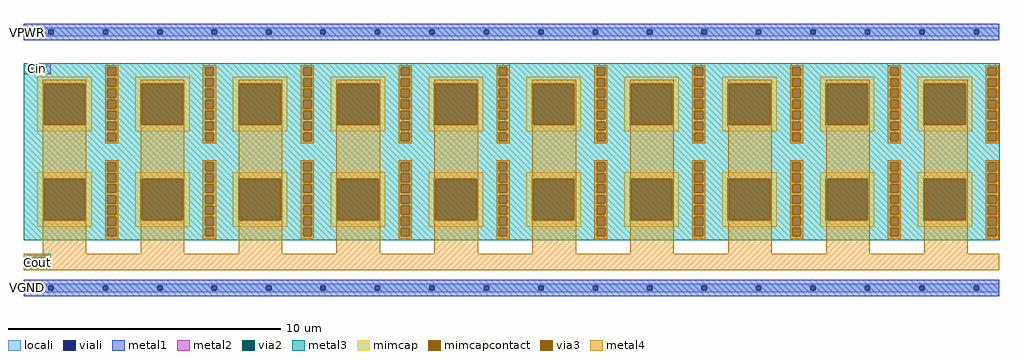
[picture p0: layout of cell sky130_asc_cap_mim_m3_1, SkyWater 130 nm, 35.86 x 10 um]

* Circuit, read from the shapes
.subckt sky130_asc_cap_mim_m3_1 Cin Cout VPWR VGND
XC1 Cout Cin sky130_fd_pr__cap_mim_m3_1 w=2 l=2 m=20
.ends

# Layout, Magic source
magic
tech sky130A
magscale 1 2
<< locali >>
rect 122 1897 7290 1910
rect 122 1863 305 1897
rect 339 1863 705 1897
rect 739 1863 1105 1897
rect 1139 1863 1505 1897
rect 1539 1863 1905 1897
rect 1939 1863 2305 1897
rect 2339 1863 2705 1897
rect 2739 1863 3105 1897
rect 3139 1863 3505 1897
rect 3539 1863 3905 1897
rect 3939 1863 4305 1897
rect 4339 1863 4705 1897
rect 4739 1863 5105 1897
rect 5139 1863 5505 1897
rect 5539 1863 5905 1897
rect 5939 1863 6305 1897
rect 6339 1863 6705 1897
rect 6739 1863 7105 1897
rect 7139 1863 7290 1897
rect 122 1850 7290 1863
rect 122 17 7290 30
rect 122 -17 305 17
rect 339 -17 705 17
rect 739 -17 1105 17
rect 1139 -17 1505 17
rect 1539 -17 1905 17
rect 1939 -17 2305 17
rect 2339 -17 2705 17
rect 2739 -17 3105 17
rect 3139 -17 3505 17
rect 3539 -17 3905 17
rect 3939 -17 4305 17
rect 4339 -17 4705 17
rect 4739 -17 5105 17
rect 5139 -17 5505 17
rect 5539 -17 5905 17
rect 5939 -17 6305 17
rect 6339 -17 6705 17
rect 6739 -17 7105 17
rect 7139 -17 7290 17
rect 122 -30 7290 -17
<< viali >>
rect 305 1863 339 1897
rect 705 1863 739 1897
rect 1105 1863 1139 1897
rect 1505 1863 1539 1897
rect 1905 1863 1939 1897
rect 2305 1863 2339 1897
rect 2705 1863 2739 1897
rect 3105 1863 3139 1897
rect 3505 1863 3539 1897
rect 3905 1863 3939 1897
rect 4305 1863 4339 1897
rect 4705 1863 4739 1897
rect 5105 1863 5139 1897
rect 5505 1863 5539 1897
rect 5905 1863 5939 1897
rect 6305 1863 6339 1897
rect 6705 1863 6739 1897
rect 7105 1863 7139 1897
rect 305 -17 339 17
rect 705 -17 739 17
rect 1105 -17 1139 17
rect 1505 -17 1539 17
rect 1905 -17 1939 17
rect 2305 -17 2339 17
rect 2705 -17 2739 17
rect 3105 -17 3139 17
rect 3505 -17 3539 17
rect 3905 -17 3939 17
rect 4305 -17 4339 17
rect 4705 -17 4739 17
rect 5105 -17 5139 17
rect 5505 -17 5539 17
rect 5905 -17 5939 17
rect 6305 -17 6339 17
rect 6705 -17 6739 17
rect 7105 -17 7139 17
<< metal1 >>
rect 122 1897 7290 1940
rect 122 1863 305 1897
rect 339 1863 705 1897
rect 739 1863 1105 1897
rect 1139 1863 1505 1897
rect 1539 1863 1905 1897
rect 1939 1863 2305 1897
rect 2339 1863 2705 1897
rect 2739 1863 3105 1897
rect 3139 1863 3505 1897
rect 3539 1863 3905 1897
rect 3939 1863 4305 1897
rect 4339 1863 4705 1897
rect 4739 1863 5105 1897
rect 5139 1863 5505 1897
rect 5539 1863 5905 1897
rect 5939 1863 6305 1897
rect 6339 1863 6705 1897
rect 6739 1863 7105 1897
rect 7139 1863 7290 1897
rect 122 1820 7290 1863
rect 122 17 7290 60
rect 122 -17 305 17
rect 339 -17 705 17
rect 739 -17 1105 17
rect 1139 -17 1505 17
rect 1539 -17 1905 17
rect 1939 -17 2305 17
rect 2339 -17 2705 17
rect 2739 -17 3105 17
rect 3139 -17 3505 17
rect 3539 -17 3905 17
rect 3939 -17 4305 17
rect 4339 -17 4705 17
rect 4739 -17 5105 17
rect 5139 -17 5505 17
rect 5539 -17 5905 17
rect 5939 -17 6305 17
rect 6339 -17 6705 17
rect 6739 -17 7105 17
rect 7139 -17 7290 17
rect 122 -60 7290 -17
<< metal2 >>
rect 120 1638 320 1650
rect 120 1582 152 1638
rect 208 1582 232 1638
rect 288 1582 320 1638
rect 120 1570 320 1582
rect 142 218 302 240
rect 142 162 194 218
rect 250 162 302 218
rect 142 140 302 162
<< via2 >>
rect 152 1582 208 1638
rect 232 1582 288 1638
rect 194 162 250 218
<< metal3 >>
rect 120 1638 7292 1650
rect 120 1582 152 1638
rect 208 1582 232 1638
rect 288 1622 7292 1638
rect 288 1582 736 1622
rect 120 1558 736 1582
rect 800 1558 1455 1622
rect 1519 1558 2174 1622
rect 2238 1558 2893 1622
rect 2957 1558 3612 1622
rect 3676 1558 4331 1622
rect 4395 1558 5050 1622
rect 5114 1558 5769 1622
rect 5833 1558 6488 1622
rect 6552 1558 7207 1622
rect 7271 1558 7292 1622
rect 120 1542 7292 1558
rect 120 1478 736 1542
rect 800 1478 1455 1542
rect 1519 1478 2174 1542
rect 2238 1478 2893 1542
rect 2957 1478 3612 1542
rect 3676 1478 4331 1542
rect 4395 1478 5050 1542
rect 5114 1478 5769 1542
rect 5833 1478 6488 1542
rect 6552 1478 7207 1542
rect 7271 1478 7292 1542
rect 120 1462 7292 1478
rect 120 1398 736 1462
rect 800 1398 1455 1462
rect 1519 1398 2174 1462
rect 2238 1398 2893 1462
rect 2957 1398 3612 1462
rect 3676 1398 4331 1462
rect 4395 1398 5050 1462
rect 5114 1398 5769 1462
rect 5833 1398 6488 1462
rect 6552 1398 7207 1462
rect 7271 1398 7292 1462
rect 120 1382 7292 1398
rect 120 1318 736 1382
rect 800 1318 1455 1382
rect 1519 1318 2174 1382
rect 2238 1318 2893 1382
rect 2957 1318 3612 1382
rect 3676 1318 4331 1382
rect 4395 1318 5050 1382
rect 5114 1318 5769 1382
rect 5833 1318 6488 1382
rect 6552 1318 7207 1382
rect 7271 1318 7292 1382
rect 120 1302 7292 1318
rect 120 1238 736 1302
rect 800 1238 1455 1302
rect 1519 1238 2174 1302
rect 2238 1238 2893 1302
rect 2957 1238 3612 1302
rect 3676 1238 4331 1302
rect 4395 1238 5050 1302
rect 5114 1238 5769 1302
rect 5833 1238 6488 1302
rect 6552 1238 7207 1302
rect 7271 1238 7292 1302
rect 120 1222 7292 1238
rect 120 1158 736 1222
rect 800 1158 1455 1222
rect 1519 1158 2174 1222
rect 2238 1158 2893 1222
rect 2957 1158 3612 1222
rect 3676 1158 4331 1222
rect 4395 1158 5050 1222
rect 5114 1158 5769 1222
rect 5833 1158 6488 1222
rect 6552 1158 7207 1222
rect 7271 1158 7292 1222
rect 120 1142 7292 1158
rect 120 1078 736 1142
rect 800 1078 1455 1142
rect 1519 1078 2174 1142
rect 2238 1078 2893 1142
rect 2957 1078 3612 1142
rect 3676 1078 4331 1142
rect 4395 1078 5050 1142
rect 5114 1078 5769 1142
rect 5833 1078 6488 1142
rect 6552 1078 7207 1142
rect 7271 1078 7292 1142
rect 120 922 7292 1078
rect 120 858 736 922
rect 800 858 1455 922
rect 1519 858 2174 922
rect 2238 858 2893 922
rect 2957 858 3612 922
rect 3676 858 4331 922
rect 4395 858 5050 922
rect 5114 858 5769 922
rect 5833 858 6488 922
rect 6552 858 7207 922
rect 7271 858 7292 922
rect 120 842 7292 858
rect 120 778 736 842
rect 800 778 1455 842
rect 1519 778 2174 842
rect 2238 778 2893 842
rect 2957 778 3612 842
rect 3676 778 4331 842
rect 4395 778 5050 842
rect 5114 778 5769 842
rect 5833 778 6488 842
rect 6552 778 7207 842
rect 7271 778 7292 842
rect 120 762 7292 778
rect 120 698 736 762
rect 800 698 1455 762
rect 1519 698 2174 762
rect 2238 698 2893 762
rect 2957 698 3612 762
rect 3676 698 4331 762
rect 4395 698 5050 762
rect 5114 698 5769 762
rect 5833 698 6488 762
rect 6552 698 7207 762
rect 7271 698 7292 762
rect 120 682 7292 698
rect 120 618 736 682
rect 800 618 1455 682
rect 1519 618 2174 682
rect 2238 618 2893 682
rect 2957 618 3612 682
rect 3676 618 4331 682
rect 4395 618 5050 682
rect 5114 618 5769 682
rect 5833 618 6488 682
rect 6552 618 7207 682
rect 7271 618 7292 682
rect 120 602 7292 618
rect 120 538 736 602
rect 800 538 1455 602
rect 1519 538 2174 602
rect 2238 538 2893 602
rect 2957 538 3612 602
rect 3676 538 4331 602
rect 4395 538 5050 602
rect 5114 538 5769 602
rect 5833 538 6488 602
rect 6552 538 7207 602
rect 7271 538 7292 602
rect 120 522 7292 538
rect 120 458 736 522
rect 800 458 1455 522
rect 1519 458 2174 522
rect 2238 458 2893 522
rect 2957 458 3612 522
rect 3676 458 4331 522
rect 4395 458 5050 522
rect 5114 458 5769 522
rect 5833 458 6488 522
rect 6552 458 7207 522
rect 7271 458 7292 522
rect 120 442 7292 458
rect 120 378 736 442
rect 800 378 1455 442
rect 1519 378 2174 442
rect 2238 378 2893 442
rect 2957 378 3612 442
rect 3676 378 4331 442
rect 4395 378 5050 442
rect 5114 378 5769 442
rect 5833 378 6488 442
rect 6552 378 7207 442
rect 7271 378 7292 442
rect 120 350 7292 378
rect 122 222 322 250
rect 122 158 150 222
rect 214 218 230 222
rect 214 158 230 162
rect 294 158 322 222
rect 122 130 322 158
<< via3 >>
rect 736 1558 800 1622
rect 1455 1558 1519 1622
rect 2174 1558 2238 1622
rect 2893 1558 2957 1622
rect 3612 1558 3676 1622
rect 4331 1558 4395 1622
rect 5050 1558 5114 1622
rect 5769 1558 5833 1622
rect 6488 1558 6552 1622
rect 7207 1558 7271 1622
rect 736 1478 800 1542
rect 1455 1478 1519 1542
rect 2174 1478 2238 1542
rect 2893 1478 2957 1542
rect 3612 1478 3676 1542
rect 4331 1478 4395 1542
rect 5050 1478 5114 1542
rect 5769 1478 5833 1542
rect 6488 1478 6552 1542
rect 7207 1478 7271 1542
rect 736 1398 800 1462
rect 1455 1398 1519 1462
rect 2174 1398 2238 1462
rect 2893 1398 2957 1462
rect 3612 1398 3676 1462
rect 4331 1398 4395 1462
rect 5050 1398 5114 1462
rect 5769 1398 5833 1462
rect 6488 1398 6552 1462
rect 7207 1398 7271 1462
rect 736 1318 800 1382
rect 1455 1318 1519 1382
rect 2174 1318 2238 1382
rect 2893 1318 2957 1382
rect 3612 1318 3676 1382
rect 4331 1318 4395 1382
rect 5050 1318 5114 1382
rect 5769 1318 5833 1382
rect 6488 1318 6552 1382
rect 7207 1318 7271 1382
rect 736 1238 800 1302
rect 1455 1238 1519 1302
rect 2174 1238 2238 1302
rect 2893 1238 2957 1302
rect 3612 1238 3676 1302
rect 4331 1238 4395 1302
rect 5050 1238 5114 1302
rect 5769 1238 5833 1302
rect 6488 1238 6552 1302
rect 7207 1238 7271 1302
rect 736 1158 800 1222
rect 1455 1158 1519 1222
rect 2174 1158 2238 1222
rect 2893 1158 2957 1222
rect 3612 1158 3676 1222
rect 4331 1158 4395 1222
rect 5050 1158 5114 1222
rect 5769 1158 5833 1222
rect 6488 1158 6552 1222
rect 7207 1158 7271 1222
rect 736 1078 800 1142
rect 1455 1078 1519 1142
rect 2174 1078 2238 1142
rect 2893 1078 2957 1142
rect 3612 1078 3676 1142
rect 4331 1078 4395 1142
rect 5050 1078 5114 1142
rect 5769 1078 5833 1142
rect 6488 1078 6552 1142
rect 7207 1078 7271 1142
rect 736 858 800 922
rect 1455 858 1519 922
rect 2174 858 2238 922
rect 2893 858 2957 922
rect 3612 858 3676 922
rect 4331 858 4395 922
rect 5050 858 5114 922
rect 5769 858 5833 922
rect 6488 858 6552 922
rect 7207 858 7271 922
rect 736 778 800 842
rect 1455 778 1519 842
rect 2174 778 2238 842
rect 2893 778 2957 842
rect 3612 778 3676 842
rect 4331 778 4395 842
rect 5050 778 5114 842
rect 5769 778 5833 842
rect 6488 778 6552 842
rect 7207 778 7271 842
rect 736 698 800 762
rect 1455 698 1519 762
rect 2174 698 2238 762
rect 2893 698 2957 762
rect 3612 698 3676 762
rect 4331 698 4395 762
rect 5050 698 5114 762
rect 5769 698 5833 762
rect 6488 698 6552 762
rect 7207 698 7271 762
rect 736 618 800 682
rect 1455 618 1519 682
rect 2174 618 2238 682
rect 2893 618 2957 682
rect 3612 618 3676 682
rect 4331 618 4395 682
rect 5050 618 5114 682
rect 5769 618 5833 682
rect 6488 618 6552 682
rect 7207 618 7271 682
rect 736 538 800 602
rect 1455 538 1519 602
rect 2174 538 2238 602
rect 2893 538 2957 602
rect 3612 538 3676 602
rect 4331 538 4395 602
rect 5050 538 5114 602
rect 5769 538 5833 602
rect 6488 538 6552 602
rect 7207 538 7271 602
rect 736 458 800 522
rect 1455 458 1519 522
rect 2174 458 2238 522
rect 2893 458 2957 522
rect 3612 458 3676 522
rect 4331 458 4395 522
rect 5050 458 5114 522
rect 5769 458 5833 522
rect 6488 458 6552 522
rect 7207 458 7271 522
rect 736 378 800 442
rect 1455 378 1519 442
rect 2174 378 2238 442
rect 2893 378 2957 442
rect 3612 378 3676 442
rect 4331 378 4395 442
rect 5050 378 5114 442
rect 5769 378 5833 442
rect 6488 378 6552 442
rect 7207 378 7271 442
rect 150 218 214 222
rect 230 218 294 222
rect 150 162 194 218
rect 194 162 214 218
rect 230 162 250 218
rect 250 162 294 218
rect 150 158 214 162
rect 230 158 294 162
<< mimcap >>
rect 221 1502 621 1550
rect 221 1198 269 1502
rect 573 1198 621 1502
rect 221 1150 621 1198
rect 940 1502 1340 1550
rect 940 1198 988 1502
rect 1292 1198 1340 1502
rect 940 1150 1340 1198
rect 1659 1502 2059 1550
rect 1659 1198 1707 1502
rect 2011 1198 2059 1502
rect 1659 1150 2059 1198
rect 2378 1502 2778 1550
rect 2378 1198 2426 1502
rect 2730 1198 2778 1502
rect 2378 1150 2778 1198
rect 3097 1502 3497 1550
rect 3097 1198 3145 1502
rect 3449 1198 3497 1502
rect 3097 1150 3497 1198
rect 3816 1502 4216 1550
rect 3816 1198 3864 1502
rect 4168 1198 4216 1502
rect 3816 1150 4216 1198
rect 4535 1502 4935 1550
rect 4535 1198 4583 1502
rect 4887 1198 4935 1502
rect 4535 1150 4935 1198
rect 5254 1502 5654 1550
rect 5254 1198 5302 1502
rect 5606 1198 5654 1502
rect 5254 1150 5654 1198
rect 5973 1502 6373 1550
rect 5973 1198 6021 1502
rect 6325 1198 6373 1502
rect 5973 1150 6373 1198
rect 6692 1502 7092 1550
rect 6692 1198 6740 1502
rect 7044 1198 7092 1502
rect 6692 1150 7092 1198
rect 221 802 621 850
rect 221 498 269 802
rect 573 498 621 802
rect 221 450 621 498
rect 940 802 1340 850
rect 940 498 988 802
rect 1292 498 1340 802
rect 940 450 1340 498
rect 1659 802 2059 850
rect 1659 498 1707 802
rect 2011 498 2059 802
rect 1659 450 2059 498
rect 2378 802 2778 850
rect 2378 498 2426 802
rect 2730 498 2778 802
rect 2378 450 2778 498
rect 3097 802 3497 850
rect 3097 498 3145 802
rect 3449 498 3497 802
rect 3097 450 3497 498
rect 3816 802 4216 850
rect 3816 498 3864 802
rect 4168 498 4216 802
rect 3816 450 4216 498
rect 4535 802 4935 850
rect 4535 498 4583 802
rect 4887 498 4935 802
rect 4535 450 4935 498
rect 5254 802 5654 850
rect 5254 498 5302 802
rect 5606 498 5654 802
rect 5254 450 5654 498
rect 5973 802 6373 850
rect 5973 498 6021 802
rect 6325 498 6373 802
rect 5973 450 6373 498
rect 6692 802 7092 850
rect 6692 498 6740 802
rect 7044 498 7092 802
rect 6692 450 7092 498
<< mimcapcontact >>
rect 269 1198 573 1502
rect 988 1198 1292 1502
rect 1707 1198 2011 1502
rect 2426 1198 2730 1502
rect 3145 1198 3449 1502
rect 3864 1198 4168 1502
rect 4583 1198 4887 1502
rect 5302 1198 5606 1502
rect 6021 1198 6325 1502
rect 6740 1198 7044 1502
rect 269 498 573 802
rect 988 498 1292 802
rect 1707 498 2011 802
rect 2426 498 2730 802
rect 3145 498 3449 802
rect 3864 498 4168 802
rect 4583 498 4887 802
rect 5302 498 5606 802
rect 6021 498 6325 802
rect 6740 498 7044 802
<< metal4 >>
rect 720 1622 816 1638
rect 720 1558 736 1622
rect 800 1558 816 1622
rect 720 1542 816 1558
rect 260 1511 580 1530
rect 260 1502 582 1511
rect 260 1198 269 1502
rect 573 1198 582 1502
rect 260 1189 582 1198
rect 720 1478 736 1542
rect 800 1478 816 1542
rect 1439 1622 1535 1638
rect 1439 1558 1455 1622
rect 1519 1558 1535 1622
rect 1439 1542 1535 1558
rect 980 1511 1300 1530
rect 720 1462 816 1478
rect 720 1398 736 1462
rect 800 1398 816 1462
rect 720 1382 816 1398
rect 720 1318 736 1382
rect 800 1318 816 1382
rect 720 1302 816 1318
rect 720 1238 736 1302
rect 800 1238 816 1302
rect 720 1222 816 1238
rect 260 811 580 1189
rect 720 1158 736 1222
rect 800 1158 816 1222
rect 979 1502 1301 1511
rect 979 1198 988 1502
rect 1292 1198 1301 1502
rect 979 1189 1301 1198
rect 1439 1478 1455 1542
rect 1519 1478 1535 1542
rect 2158 1622 2254 1638
rect 2158 1558 2174 1622
rect 2238 1558 2254 1622
rect 2158 1542 2254 1558
rect 1700 1511 2020 1530
rect 1439 1462 1535 1478
rect 1439 1398 1455 1462
rect 1519 1398 1535 1462
rect 1439 1382 1535 1398
rect 1439 1318 1455 1382
rect 1519 1318 1535 1382
rect 1439 1302 1535 1318
rect 1439 1238 1455 1302
rect 1519 1238 1535 1302
rect 1439 1222 1535 1238
rect 720 1142 816 1158
rect 720 1078 736 1142
rect 800 1078 816 1142
rect 720 1062 816 1078
rect 720 922 816 938
rect 720 858 736 922
rect 800 858 816 922
rect 720 842 816 858
rect 260 802 582 811
rect 260 498 269 802
rect 573 498 582 802
rect 260 489 582 498
rect 720 778 736 842
rect 800 778 816 842
rect 980 811 1300 1189
rect 1439 1158 1455 1222
rect 1519 1158 1535 1222
rect 1698 1502 2020 1511
rect 1698 1198 1707 1502
rect 2011 1198 2020 1502
rect 1698 1189 2020 1198
rect 1439 1142 1535 1158
rect 1439 1078 1455 1142
rect 1519 1078 1535 1142
rect 1439 1062 1535 1078
rect 1439 922 1535 938
rect 1439 858 1455 922
rect 1519 858 1535 922
rect 1439 842 1535 858
rect 720 762 816 778
rect 720 698 736 762
rect 800 698 816 762
rect 720 682 816 698
rect 720 618 736 682
rect 800 618 816 682
rect 720 602 816 618
rect 720 538 736 602
rect 800 538 816 602
rect 720 522 816 538
rect 260 250 580 489
rect 720 458 736 522
rect 800 458 816 522
rect 979 802 1301 811
rect 979 498 988 802
rect 1292 498 1301 802
rect 979 489 1301 498
rect 1439 778 1455 842
rect 1519 778 1535 842
rect 1700 811 2020 1189
rect 2158 1478 2174 1542
rect 2238 1478 2254 1542
rect 2877 1622 2973 1638
rect 2877 1558 2893 1622
rect 2957 1558 2973 1622
rect 2877 1542 2973 1558
rect 2420 1511 2740 1530
rect 2158 1462 2254 1478
rect 2158 1398 2174 1462
rect 2238 1398 2254 1462
rect 2158 1382 2254 1398
rect 2158 1318 2174 1382
rect 2238 1318 2254 1382
rect 2158 1302 2254 1318
rect 2158 1238 2174 1302
rect 2238 1238 2254 1302
rect 2158 1222 2254 1238
rect 2158 1158 2174 1222
rect 2238 1158 2254 1222
rect 2417 1502 2740 1511
rect 2417 1198 2426 1502
rect 2730 1198 2740 1502
rect 2417 1189 2740 1198
rect 2158 1142 2254 1158
rect 2158 1078 2174 1142
rect 2238 1078 2254 1142
rect 2158 1062 2254 1078
rect 1439 762 1535 778
rect 1439 698 1455 762
rect 1519 698 1535 762
rect 1439 682 1535 698
rect 1439 618 1455 682
rect 1519 618 1535 682
rect 1439 602 1535 618
rect 1439 538 1455 602
rect 1519 538 1535 602
rect 1439 522 1535 538
rect 720 442 816 458
rect 720 378 736 442
rect 800 378 816 442
rect 720 362 816 378
rect 980 250 1300 489
rect 1439 458 1455 522
rect 1519 458 1535 522
rect 1698 802 2020 811
rect 1698 498 1707 802
rect 2011 498 2020 802
rect 1698 489 2020 498
rect 1439 442 1535 458
rect 1439 378 1455 442
rect 1519 378 1535 442
rect 1439 362 1535 378
rect 1700 250 2020 489
rect 2158 922 2254 938
rect 2158 858 2174 922
rect 2238 858 2254 922
rect 2158 842 2254 858
rect 2158 778 2174 842
rect 2238 778 2254 842
rect 2420 811 2740 1189
rect 2877 1478 2893 1542
rect 2957 1478 2973 1542
rect 3596 1622 3692 1638
rect 3596 1558 3612 1622
rect 3676 1558 3692 1622
rect 3596 1542 3692 1558
rect 3140 1511 3460 1530
rect 2877 1462 2973 1478
rect 2877 1398 2893 1462
rect 2957 1398 2973 1462
rect 2877 1382 2973 1398
rect 2877 1318 2893 1382
rect 2957 1318 2973 1382
rect 2877 1302 2973 1318
rect 2877 1238 2893 1302
rect 2957 1238 2973 1302
rect 2877 1222 2973 1238
rect 2877 1158 2893 1222
rect 2957 1158 2973 1222
rect 3136 1502 3460 1511
rect 3136 1198 3145 1502
rect 3449 1198 3460 1502
rect 3136 1189 3460 1198
rect 2877 1142 2973 1158
rect 2877 1078 2893 1142
rect 2957 1078 2973 1142
rect 2877 1062 2973 1078
rect 2158 762 2254 778
rect 2158 698 2174 762
rect 2238 698 2254 762
rect 2158 682 2254 698
rect 2158 618 2174 682
rect 2238 618 2254 682
rect 2158 602 2254 618
rect 2158 538 2174 602
rect 2238 538 2254 602
rect 2158 522 2254 538
rect 2158 458 2174 522
rect 2238 458 2254 522
rect 2417 802 2740 811
rect 2417 498 2426 802
rect 2730 498 2740 802
rect 2417 489 2740 498
rect 2158 442 2254 458
rect 2158 378 2174 442
rect 2238 378 2254 442
rect 2158 362 2254 378
rect 2420 250 2740 489
rect 2877 922 2973 938
rect 2877 858 2893 922
rect 2957 858 2973 922
rect 2877 842 2973 858
rect 2877 778 2893 842
rect 2957 778 2973 842
rect 3140 811 3460 1189
rect 3596 1478 3612 1542
rect 3676 1478 3692 1542
rect 4315 1622 4411 1638
rect 4315 1558 4331 1622
rect 4395 1558 4411 1622
rect 4315 1542 4411 1558
rect 3860 1511 4180 1530
rect 3596 1462 3692 1478
rect 3596 1398 3612 1462
rect 3676 1398 3692 1462
rect 3596 1382 3692 1398
rect 3596 1318 3612 1382
rect 3676 1318 3692 1382
rect 3596 1302 3692 1318
rect 3596 1238 3612 1302
rect 3676 1238 3692 1302
rect 3596 1222 3692 1238
rect 3596 1158 3612 1222
rect 3676 1158 3692 1222
rect 3855 1502 4180 1511
rect 3855 1198 3864 1502
rect 4168 1198 4180 1502
rect 3855 1189 4180 1198
rect 3596 1142 3692 1158
rect 3596 1078 3612 1142
rect 3676 1078 3692 1142
rect 3596 1062 3692 1078
rect 2877 762 2973 778
rect 2877 698 2893 762
rect 2957 698 2973 762
rect 2877 682 2973 698
rect 2877 618 2893 682
rect 2957 618 2973 682
rect 2877 602 2973 618
rect 2877 538 2893 602
rect 2957 538 2973 602
rect 2877 522 2973 538
rect 2877 458 2893 522
rect 2957 458 2973 522
rect 3136 802 3460 811
rect 3136 498 3145 802
rect 3449 498 3460 802
rect 3136 489 3460 498
rect 2877 442 2973 458
rect 2877 378 2893 442
rect 2957 378 2973 442
rect 2877 362 2973 378
rect 3140 250 3460 489
rect 3596 922 3692 938
rect 3596 858 3612 922
rect 3676 858 3692 922
rect 3596 842 3692 858
rect 3596 778 3612 842
rect 3676 778 3692 842
rect 3860 811 4180 1189
rect 4315 1478 4331 1542
rect 4395 1478 4411 1542
rect 5034 1622 5130 1638
rect 5034 1558 5050 1622
rect 5114 1558 5130 1622
rect 5034 1542 5130 1558
rect 4580 1511 4900 1530
rect 4315 1462 4411 1478
rect 4315 1398 4331 1462
rect 4395 1398 4411 1462
rect 4315 1382 4411 1398
rect 4315 1318 4331 1382
rect 4395 1318 4411 1382
rect 4315 1302 4411 1318
rect 4315 1238 4331 1302
rect 4395 1238 4411 1302
rect 4315 1222 4411 1238
rect 4315 1158 4331 1222
rect 4395 1158 4411 1222
rect 4574 1502 4900 1511
rect 4574 1198 4583 1502
rect 4887 1198 4900 1502
rect 4574 1189 4900 1198
rect 4315 1142 4411 1158
rect 4315 1078 4331 1142
rect 4395 1078 4411 1142
rect 4315 1062 4411 1078
rect 3596 762 3692 778
rect 3596 698 3612 762
rect 3676 698 3692 762
rect 3596 682 3692 698
rect 3596 618 3612 682
rect 3676 618 3692 682
rect 3596 602 3692 618
rect 3596 538 3612 602
rect 3676 538 3692 602
rect 3596 522 3692 538
rect 3596 458 3612 522
rect 3676 458 3692 522
rect 3855 802 4180 811
rect 3855 498 3864 802
rect 4168 498 4180 802
rect 3855 489 4180 498
rect 3596 442 3692 458
rect 3596 378 3612 442
rect 3676 378 3692 442
rect 3596 362 3692 378
rect 3860 250 4180 489
rect 4315 922 4411 938
rect 4315 858 4331 922
rect 4395 858 4411 922
rect 4315 842 4411 858
rect 4315 778 4331 842
rect 4395 778 4411 842
rect 4580 811 4900 1189
rect 5034 1478 5050 1542
rect 5114 1478 5130 1542
rect 5753 1622 5849 1638
rect 5753 1558 5769 1622
rect 5833 1558 5849 1622
rect 5753 1542 5849 1558
rect 5300 1511 5620 1530
rect 5034 1462 5130 1478
rect 5034 1398 5050 1462
rect 5114 1398 5130 1462
rect 5034 1382 5130 1398
rect 5034 1318 5050 1382
rect 5114 1318 5130 1382
rect 5034 1302 5130 1318
rect 5034 1238 5050 1302
rect 5114 1238 5130 1302
rect 5034 1222 5130 1238
rect 5034 1158 5050 1222
rect 5114 1158 5130 1222
rect 5293 1502 5620 1511
rect 5293 1198 5302 1502
rect 5606 1198 5620 1502
rect 5293 1189 5620 1198
rect 5034 1142 5130 1158
rect 5034 1078 5050 1142
rect 5114 1078 5130 1142
rect 5034 1062 5130 1078
rect 4315 762 4411 778
rect 4315 698 4331 762
rect 4395 698 4411 762
rect 4315 682 4411 698
rect 4315 618 4331 682
rect 4395 618 4411 682
rect 4315 602 4411 618
rect 4315 538 4331 602
rect 4395 538 4411 602
rect 4315 522 4411 538
rect 4315 458 4331 522
rect 4395 458 4411 522
rect 4574 802 4900 811
rect 4574 498 4583 802
rect 4887 498 4900 802
rect 4574 489 4900 498
rect 4315 442 4411 458
rect 4315 378 4331 442
rect 4395 378 4411 442
rect 4315 362 4411 378
rect 4580 250 4900 489
rect 5034 922 5130 938
rect 5034 858 5050 922
rect 5114 858 5130 922
rect 5034 842 5130 858
rect 5034 778 5050 842
rect 5114 778 5130 842
rect 5300 811 5620 1189
rect 5753 1478 5769 1542
rect 5833 1478 5849 1542
rect 6472 1622 6568 1638
rect 6472 1558 6488 1622
rect 6552 1558 6568 1622
rect 6472 1542 6568 1558
rect 6020 1511 6340 1530
rect 5753 1462 5849 1478
rect 5753 1398 5769 1462
rect 5833 1398 5849 1462
rect 5753 1382 5849 1398
rect 5753 1318 5769 1382
rect 5833 1318 5849 1382
rect 5753 1302 5849 1318
rect 5753 1238 5769 1302
rect 5833 1238 5849 1302
rect 5753 1222 5849 1238
rect 5753 1158 5769 1222
rect 5833 1158 5849 1222
rect 6012 1502 6340 1511
rect 6012 1198 6021 1502
rect 6325 1198 6340 1502
rect 6012 1189 6340 1198
rect 5753 1142 5849 1158
rect 5753 1078 5769 1142
rect 5833 1078 5849 1142
rect 5753 1062 5849 1078
rect 5034 762 5130 778
rect 5034 698 5050 762
rect 5114 698 5130 762
rect 5034 682 5130 698
rect 5034 618 5050 682
rect 5114 618 5130 682
rect 5034 602 5130 618
rect 5034 538 5050 602
rect 5114 538 5130 602
rect 5034 522 5130 538
rect 5034 458 5050 522
rect 5114 458 5130 522
rect 5293 802 5620 811
rect 5293 498 5302 802
rect 5606 498 5620 802
rect 5293 489 5620 498
rect 5034 442 5130 458
rect 5034 378 5050 442
rect 5114 378 5130 442
rect 5034 362 5130 378
rect 5300 250 5620 489
rect 5753 922 5849 938
rect 5753 858 5769 922
rect 5833 858 5849 922
rect 5753 842 5849 858
rect 5753 778 5769 842
rect 5833 778 5849 842
rect 6020 811 6340 1189
rect 6472 1478 6488 1542
rect 6552 1478 6568 1542
rect 7191 1622 7287 1638
rect 7191 1558 7207 1622
rect 7271 1558 7287 1622
rect 7191 1542 7287 1558
rect 6740 1511 7060 1530
rect 6472 1462 6568 1478
rect 6472 1398 6488 1462
rect 6552 1398 6568 1462
rect 6472 1382 6568 1398
rect 6472 1318 6488 1382
rect 6552 1318 6568 1382
rect 6472 1302 6568 1318
rect 6472 1238 6488 1302
rect 6552 1238 6568 1302
rect 6472 1222 6568 1238
rect 6472 1158 6488 1222
rect 6552 1158 6568 1222
rect 6731 1502 7060 1511
rect 6731 1198 6740 1502
rect 7044 1198 7060 1502
rect 6731 1189 7060 1198
rect 6472 1142 6568 1158
rect 6472 1078 6488 1142
rect 6552 1078 6568 1142
rect 6472 1062 6568 1078
rect 5753 762 5849 778
rect 5753 698 5769 762
rect 5833 698 5849 762
rect 5753 682 5849 698
rect 5753 618 5769 682
rect 5833 618 5849 682
rect 5753 602 5849 618
rect 5753 538 5769 602
rect 5833 538 5849 602
rect 5753 522 5849 538
rect 5753 458 5769 522
rect 5833 458 5849 522
rect 6012 802 6340 811
rect 6012 498 6021 802
rect 6325 498 6340 802
rect 6012 489 6340 498
rect 5753 442 5849 458
rect 5753 378 5769 442
rect 5833 378 5849 442
rect 5753 362 5849 378
rect 6020 250 6340 489
rect 6472 922 6568 938
rect 6472 858 6488 922
rect 6552 858 6568 922
rect 6472 842 6568 858
rect 6472 778 6488 842
rect 6552 778 6568 842
rect 6740 811 7060 1189
rect 7191 1478 7207 1542
rect 7271 1478 7287 1542
rect 7191 1462 7287 1478
rect 7191 1398 7207 1462
rect 7271 1398 7287 1462
rect 7191 1382 7287 1398
rect 7191 1318 7207 1382
rect 7271 1318 7287 1382
rect 7191 1302 7287 1318
rect 7191 1238 7207 1302
rect 7271 1238 7287 1302
rect 7191 1222 7287 1238
rect 7191 1158 7207 1222
rect 7271 1158 7287 1222
rect 7191 1142 7287 1158
rect 7191 1078 7207 1142
rect 7271 1078 7287 1142
rect 7191 1062 7287 1078
rect 6472 762 6568 778
rect 6472 698 6488 762
rect 6552 698 6568 762
rect 6472 682 6568 698
rect 6472 618 6488 682
rect 6552 618 6568 682
rect 6472 602 6568 618
rect 6472 538 6488 602
rect 6552 538 6568 602
rect 6472 522 6568 538
rect 6472 458 6488 522
rect 6552 458 6568 522
rect 6731 802 7060 811
rect 6731 498 6740 802
rect 7044 498 7060 802
rect 6731 489 7060 498
rect 6472 442 6568 458
rect 6472 378 6488 442
rect 6552 378 6568 442
rect 6472 362 6568 378
rect 6740 250 7060 489
rect 7191 922 7287 938
rect 7191 858 7207 922
rect 7271 858 7287 922
rect 7191 842 7287 858
rect 7191 778 7207 842
rect 7271 778 7287 842
rect 7191 762 7287 778
rect 7191 698 7207 762
rect 7271 698 7287 762
rect 7191 682 7287 698
rect 7191 618 7207 682
rect 7271 618 7287 682
rect 7191 602 7287 618
rect 7191 538 7207 602
rect 7271 538 7287 602
rect 7191 522 7287 538
rect 7191 458 7207 522
rect 7271 458 7287 522
rect 7191 442 7287 458
rect 7191 378 7207 442
rect 7271 378 7287 442
rect 7191 362 7287 378
rect 122 222 7290 250
rect 122 158 150 222
rect 214 158 230 222
rect 294 158 7290 222
rect 122 130 7290 158
<< labels >>
flabel metal2 s 120 1570 320 1650 1 FreeSans 1250 0 0 0 Cin
port 1 nsew
flabel metal4 s 142 140 302 240 1 FreeSans 1250 0 0 0 Cout
port 2 nsew
flabel metal1 s 122 1850 182 1910 1 FreeSans 1250 0 0 0 VPWR
port 3 nsew
flabel metal1 s 122 -30 182 30 1 FreeSans 1250 0 0 0 VGND
port 4 nsew
<< properties >>
string FIXED_BBOX 0 0 7411 1880
<< end >>
